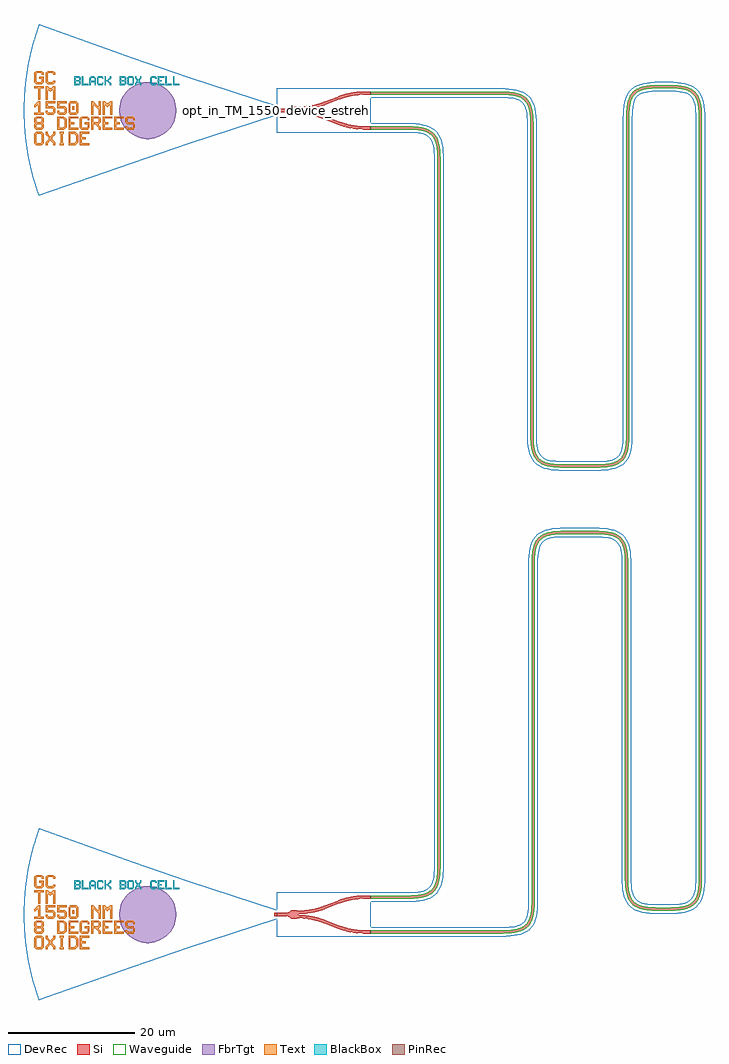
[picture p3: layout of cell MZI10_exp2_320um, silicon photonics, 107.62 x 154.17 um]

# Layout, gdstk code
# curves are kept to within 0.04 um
import gdstk
lib = gdstk.Library(unit=1e-6, precision=1e-09)
def R(c, l, rs):  # rectangles x0, y0, x1, y1
    for r in rs: c.add(gdstk.rectangle(r[:2], r[2:], *l))
def P(c, l, *ps):  # polygons
    for p in ps: c.add(gdstk.Polygon(p, *l))
Si = (1, 0)
PinRec = (1, 10)
Waveguide = (1, 99)
Text = (10, 0)
DevRec = (68, 0)
FbrTgt = (81, 0)
BlackBox = (998, 0)

text = lib.new_cell('TEXT')
P(text, BlackBox, [(13.2,0),(13.2,1.4),(14.2,1.4),(14.2,1.2),(13.4,1.2),(13.4,0.8),(13.8,0.8),(13.8,0.6),(13.4,0.6),(13.4,0.2),(14.2,0.2),(14.2,0)],
  [(9.6,0),(9.6,0.3),(9.9,0.6),(9.9,0.8),(9.6,1.1),(9.6,1.4),(9.8,1.4),(9.8,1.2),(10.1,0.9),(10.4,1.2),(10.4,1.4),(10.6,1.4),(10.6,1.1),(10.3,0.8),(10.3,0.6),(10.6,0.3),(10.6,0),(10.4,0),(10.4,0.2),(10.1,0.5),(9.8,0.2),(9.8,0)],
  [(8.6,0),(8.4,0.2),(8.4,1.2),(8.6,1.4),(9.2,1.4),(9.4,1.2),(9.4,0.7),(9.2,0.7),(9.2,1.1),(9.1,1.2),(8.7,1.2),(8.6,1.1),(8.6,0.3),(8.7,0.2),(9.1,0.2),(9.2,0.3),(9.2,0.7),(9.4,0.7),(9.4,0.2),(9.2,0)],
  [(4.8,0),(4.8,1.4),(5,1.4),(5,0.8),(5.2,0.8),(5.6,1.2),(5.6,1.4),(5.8,1.4),(5.8,1.1),(5.4,0.7),(5.8,0.3),(5.8,0),(5.6,0),(5.6,0.2),(5.2,0.6),(5,0.6),(5,0)],
  [(3.8,0),(3.6,0.2),(3.6,1.2),(3.8,1.4),(4.4,1.4),(4.6,1.2),(4.6,1),(4.4,1),(4.4,1.1),(4.3,1.2),(3.9,1.2),(3.8,1.1),(3.8,0.3),(3.9,0.2),(4.3,0.2),(4.4,0.3),(4.4,0.4),(4.6,0.4),(4.6,0.2),(4.4,0)],
  [(12.2,0),(12,0.2),(12,1.2),(12.2,1.4),(12.8,1.4),(13,1.2),(13,1),(12.8,1),(12.8,1.1),(12.7,1.2),(12.3,1.2),(12.2,1.1),(12.2,0.3),(12.3,0.2),(12.7,0.2),(12.8,0.3),(12.8,0.4),(13,0.4),(13,0.2),(12.8,0)],
  [(2.4,0),(2.4,1.1),(2.7,1.4),(3.1,1.4),(3.3,1.2),(2.8,1.2),(2.6,1),(2.6,0.7),(3.2,0.7),(3.2,1),(3,1.2),(3.3,1.2),(3.4,1.1),(3.4,0),(3.2,0),(3.2,0.5),(2.6,0.5),(2.6,0)],
  [(1.2,0),(1.2,1.4),(1.4,1.4),(1.4,0.2),(2.2,0.2),(2.2,0)],
  [(14.4,0),(14.4,1.4),(14.6,1.4),(14.6,0.2),(15.4,0.2),(15.4,0)],
  [(15.6,0),(15.6,1.4),(15.8,1.4),(15.8,0.2),(16.6,0.2),(16.6,0)],
  [(0,0),(0,1.4),(0.8,1.4),(1,1.2),(0.2,1.2),(0.2,0.8),(0.7,0.8),(0.8,0.9),(0.8,1.1),(0.7,1.2),(1,1.2),(1,0.8),(0.9,0.7),(1,0.6),(0.2,0.6),(0.2,0.2),(0.7,0.2),(0.8,0.3),(0.8,0.5),(0.7,0.6),(1,0.6),(1,0.2),(0.8,0)],
  [(7.2,0),(7.2,1.4),(8,1.4),(8.2,1.2),(7.4,1.2),(7.4,0.8),(7.9,0.8),(8,0.9),(8,1.1),(7.9,1.2),(8.2,1.2),(8.2,0.8),(8.1,0.7),(8.2,0.6),(7.4,0.6),(7.4,0.2),(7.9,0.2),(8,0.3),(8,0.5),(7.9,0.6),(8.2,0.6),(8.2,0.2),(8,0)])

gc_tm_1550_8degoxide_bb = lib.new_cell('GC_TM_1550_8degOxide_BB')
R(gc_tm_1550_8degoxide_bb, Si, [(-0.4,-0.25,0,0.25)])
R(gc_tm_1550_8degoxide_bb, Text, [(-32.313,0.092,-32.013,0.692)])
P(gc_tm_1550_8degoxide_bb, Text, [(-30.813,-3.058),(-31.113,-2.758),(-31.113,-1.258),(-30.813,-0.958),(-29.913,-0.958),(-29.613,-1.258),(-29.613,-1.558),(-29.913,-1.558),(-29.913,-1.408),(-30.063,-1.258),(-30.663,-1.258),(-30.813,-1.408),(-30.813,-2.608),(-30.663,-2.758),(-30.063,-2.758),(-29.913,-2.608),(-29.913,-2.158),(-30.363,-2.158),(-30.363,-1.858),(-29.613,-1.858),(-29.613,-2.758),(-29.913,-3.058)],
  [(-38.013,4.142),(-38.313,4.442),(-38.313,5.942),(-38.013,6.242),(-37.113,6.242),(-36.813,5.942),(-36.813,5.642),(-37.113,5.642),(-37.113,5.792),(-37.263,5.942),(-37.863,5.942),(-38.013,5.792),(-38.013,4.592),(-37.863,4.442),(-37.263,4.442),(-37.113,4.592),(-37.113,5.042),(-37.563,5.042),(-37.563,5.342),(-36.813,5.342),(-36.813,4.442),(-37.113,4.142)],
  [(-36.513,-5.458),(-36.513,-5.008),(-36.063,-4.558),(-36.063,-4.258),(-36.513,-3.808),(-36.513,-3.358),(-36.213,-3.358),(-36.213,-3.658),(-35.763,-4.108),(-35.313,-3.658),(-35.313,-3.358),(-35.013,-3.358),(-35.013,-3.808),(-35.463,-4.258),(-35.463,-4.558),(-35.013,-5.008),(-35.013,-5.458),(-35.313,-5.458),(-35.313,-5.158),(-35.763,-4.708),(-36.213,-5.158),(-36.213,-5.458)],
  [(-37.713,1.742),(-37.713,3.542),(-38.313,3.542),(-38.313,3.842),(-36.813,3.842),(-36.813,3.542),(-37.413,3.542),(-37.413,1.742)],
  [(-38.013,-5.458),(-38.313,-5.158),(-38.313,-3.658),(-38.013,-3.358),(-37.113,-3.358),(-36.813,-3.658),(-36.813,-4.408),(-37.113,-4.408),(-37.113,-3.808),(-37.263,-3.658),(-37.863,-3.658),(-38.013,-3.808),(-38.013,-5.008),(-37.863,-5.158),(-37.263,-5.158),(-37.113,-5.008),(-37.113,-4.408),(-36.813,-4.408),(-36.813,-5.158),(-37.113,-5.458)],
  [(-31.113,-5.458),(-31.113,-3.358),(-29.613,-3.358),(-29.613,-3.658),(-30.813,-3.658),(-30.813,-4.258),(-30.213,-4.258),(-30.213,-4.558),(-30.813,-4.558),(-30.813,-5.158),(-29.613,-5.158),(-29.613,-5.458)],
  [(-32.913,-3.058),(-32.913,-0.958),(-31.413,-0.958),(-31.413,-1.258),(-32.613,-1.258),(-32.613,-1.858),(-32.013,-1.858),(-32.013,-2.158),(-32.613,-2.158),(-32.613,-2.758),(-31.413,-2.758),(-31.413,-3.058)],
  [(-27.513,-3.058),(-27.513,-0.958),(-26.013,-0.958),(-26.013,-1.258),(-27.213,-1.258),(-27.213,-1.858),(-26.613,-1.858),(-26.613,-2.158),(-27.213,-2.158),(-27.213,-2.758),(-26.013,-2.758),(-26.013,-3.058)],
  [(-25.713,-3.058),(-25.713,-0.958),(-24.213,-0.958),(-24.213,-1.258),(-25.413,-1.258),(-25.413,-1.858),(-24.813,-1.858),(-24.813,-2.158),(-25.413,-2.158),(-25.413,-2.758),(-24.213,-2.758),(-24.213,-3.058)],
  [(-29.313,-0.658),(-29.313,1.442),(-29.013,1.442),(-28.263,0.692),(-28.113,0.692),(-28.113,1.442),(-27.813,1.442),(-27.813,-0.658),(-28.113,-0.658),(-28.113,0.092),(-28.863,0.842),(-29.013,0.842),(-29.013,-0.658)],
  [(-34.263,-5.458),(-34.263,-5.158),(-34.113,-5.158),(-34.113,-3.658),(-34.263,-3.658),(-34.263,-3.358),(-33.663,-3.358),(-33.663,-3.658),(-33.813,-3.658),(-33.813,-5.158),(-33.663,-5.158),(-33.663,-5.458)],
  [(-36.213,4.142),(-36.513,4.442),(-36.513,5.942),(-36.213,6.242),(-35.313,6.242),(-35.013,5.942),(-35.013,5.642),(-35.313,5.642),(-35.313,5.792),(-35.463,5.942),(-36.063,5.942),(-36.213,5.792),(-36.213,4.592),(-36.063,4.442),(-35.463,4.442),(-35.313,4.592),(-35.313,4.742),(-35.013,4.742),(-35.013,4.442),(-35.313,4.142)],
  [(-27.513,-0.658),(-27.513,1.442),(-27.213,1.442),(-26.913,1.142),(-26.613,1.142),(-26.313,1.442),(-26.013,1.442),(-26.013,-0.658),(-26.313,-0.658),(-26.313,0.842),(-26.463,0.842),(-26.763,0.542),(-27.063,0.842),(-27.213,0.842),(-27.213,-0.658)],
  [(-36.513,1.742),(-36.513,3.842),(-36.213,3.842),(-35.913,3.542),(-35.613,3.542),(-35.313,3.842),(-35.013,3.842),(-35.013,1.742),(-35.313,1.742),(-35.313,3.242),(-35.463,3.242),(-35.763,2.942),(-36.063,3.242),(-36.213,3.242),(-36.213,1.742)],
  [(-29.313,-3.058),(-29.313,-0.958),(-28.113,-0.958),(-27.813,-1.258),(-29.013,-1.258),(-29.013,-1.858),(-28.263,-1.858),(-28.113,-1.708),(-28.113,-1.408),(-28.263,-1.258),(-27.813,-1.258),(-27.813,-1.858),(-28.113,-2.158),(-28.113,-2.308),(-27.813,-2.608),(-27.813,-3.058),(-28.113,-3.058),(-28.113,-2.758),(-28.713,-2.158),(-29.013,-2.158),(-29.013,-3.058)],
  [(-32.613,-0.658),(-32.913,-0.358),(-32.913,1.142),(-32.613,1.442),(-31.713,1.442),(-31.413,1.142),(-32.463,1.142),(-32.613,0.992),(-32.613,-0.208),(-32.463,-0.358),(-31.863,-0.358),(-31.713,-0.208),(-31.713,0.992),(-31.863,1.142),(-31.413,1.142),(-31.413,-0.358),(-31.713,-0.658)],
  [(-38.013,-3.058),(-38.313,-2.758),(-38.313,-2.158),(-38.163,-2.008),(-38.313,-1.858),(-38.313,-1.258),(-38.013,-0.958),(-37.113,-0.958),(-36.813,-1.258),(-37.863,-1.258),(-38.013,-1.408),(-38.013,-1.708),(-37.863,-1.858),(-37.263,-1.858),(-37.113,-1.708),(-37.113,-1.408),(-37.263,-1.258),(-36.813,-1.258),(-36.813,-1.858),(-36.963,-2.008),(-36.813,-2.158),(-37.863,-2.158),(-38.013,-2.308),(-38.013,-2.608),(-37.863,-2.758),(-37.263,-2.758),(-37.113,-2.608),(-37.113,-2.308),(-37.263,-2.158),(-36.813,-2.158),(-36.813,-2.758),(-37.113,-3.058)],
  [(-32.913,-5.458),(-32.913,-3.358),(-31.863,-3.358),(-31.563,-3.658),(-32.613,-3.658),(-32.613,-5.158),(-32.013,-5.158),(-31.713,-4.858),(-31.713,-3.958),(-32.013,-3.658),(-31.563,-3.658),(-31.413,-3.808),(-31.413,-5.008),(-31.863,-5.458)],
  [(-34.713,-3.058),(-34.713,-0.958),(-33.663,-0.958),(-33.363,-1.258),(-34.413,-1.258),(-34.413,-2.758),(-33.813,-2.758),(-33.513,-2.458),(-33.513,-1.558),(-33.813,-1.258),(-33.363,-1.258),(-33.213,-1.408),(-33.213,-2.608),(-33.663,-3.058)],
  [(-36.213,-0.658),(-36.513,-0.358),(-36.513,-0.058),(-36.213,-0.058),(-36.213,-0.208),(-36.063,-0.358),(-35.463,-0.358),(-35.313,-0.208),(-35.313,0.242),(-35.463,0.392),(-36.513,0.392),(-36.513,1.442),(-35.013,1.442),(-35.013,1.142),(-36.213,1.142),(-36.213,0.692),(-35.313,0.692),(-35.013,0.392),(-35.013,-0.358),(-35.313,-0.658)],
  [(-34.413,-0.658),(-34.713,-0.358),(-34.713,-0.058),(-34.413,-0.058),(-34.413,-0.208),(-34.263,-0.358),(-33.663,-0.358),(-33.513,-0.208),(-33.513,0.242),(-33.663,0.392),(-34.713,0.392),(-34.713,1.442),(-33.213,1.442),(-33.213,1.142),(-34.413,1.142),(-34.413,0.692),(-33.513,0.692),(-33.213,0.392),(-33.213,-0.358),(-33.513,-0.658)],
  [(-23.613,-3.058),(-23.913,-2.758),(-23.913,-2.458),(-23.613,-2.458),(-23.613,-2.608),(-23.463,-2.758),(-22.863,-2.758),(-22.713,-2.608),(-22.713,-2.308),(-22.863,-2.158),(-23.613,-2.158),(-23.913,-1.858),(-23.913,-1.258),(-23.613,-0.958),(-22.713,-0.958),(-22.413,-1.258),(-22.413,-1.558),(-22.713,-1.558),(-22.713,-1.408),(-22.863,-1.258),(-23.463,-1.258),(-23.613,-1.408),(-23.613,-1.708),(-23.463,-1.858),(-22.713,-1.858),(-22.413,-2.158),(-22.413,-2.758),(-22.713,-3.058)],
  [(-38.313,-0.658),(-38.313,-0.358),(-37.713,-0.358),(-37.713,0.842),(-37.863,0.842),(-38.163,0.542),(-38.313,0.542),(-38.313,0.842),(-37.713,1.442),(-37.413,1.442),(-37.413,-0.358),(-36.813,-0.358),(-36.813,-0.658)])
P(gc_tm_1550_8degoxide_bb, DevRec, [(-37.607,-13.5),(-38.627,-10.245),(-39.378,-6.832),(-39.647,-5.058),(-39.835,-3.274),(-39.969,0.224),(-39.812,3.541),(-39.331,7.097),(-38.557,10.505),(-37.546,13.669),(-22.8,8.353),(-14.109,5.36),(0,0.75),(0,-0.75),(-14.109,-5.36)])
P(gc_tm_1550_8degoxide_bb, FbrTgt, [(-20.621,-4.5),(-21.495,-4.37),(-22.326,-4.073),(-23.084,-3.619),(-23.738,-3.026),(-24.264,-2.316),(-24.642,-1.518),(-24.857,-0.661),(-24.9,0.221),(-24.77,1.095),(-24.473,1.926),(-24.019,2.684),(-23.426,3.338),(-22.716,3.864),(-21.918,4.242),(-21.061,4.457),(-20.179,4.5),(-19.305,4.37),(-18.474,4.073),(-17.716,3.619),(-17.062,3.026),(-16.536,2.316),(-16.158,1.518),(-15.943,0.661),(-15.9,-0.221),(-16.03,-1.095),(-16.327,-1.926),(-16.781,-2.684),(-17.374,-3.338),(-18.084,-3.864),(-18.882,-4.242),(-19.739,-4.457)])
gc_tm_1550_8degoxide_bb.add(gdstk.FlexPath([(-0.01,0),(0.01,0)], 0.5, ends="flush", simple_path=True, layer=1, datatype=10))  # PinRec
gc_tm_1550_8degoxide_bb.add(gdstk.Reference(text, (-32,4)))
gc_tm_1550_8degoxide_bb.add(gdstk.Label('opt1', (0,0), layer=1, texttype=10))
gc_tm_1550_8degoxide_bb.add(gdstk.Label('Component=GC_TM_1550_8degOxide_BB', (-28,-5), layer=68, texttype=0))
gc_tm_1550_8degoxide_bb.add(gdstk.Label('Lumerical_INTERCONNECT_library=Design kits/ebeam', (-29,-7), layer=68, texttype=0))

ebeam_y_1550 = lib.new_cell('ebeam_y_1550')
R(ebeam_y_1550, Si, [(6.5,-3,7.4,-2.5), (-7.4,-0.25,-6,0.25), (6.5,2.5,7.4,3)])
P(ebeam_y_1550, Si, [(6.458,-3),(6.237,-2.997),(6.237,-2.497),(6.5,-2.5),(6.5,-3)],
  [(2.265,-2.21),(0.055,-1.356),(0.235,-0.89),(2.445,-1.744)],
  [(5.033,-2.908),(3.59,-2.634),(2.265,-2.21),(2.445,-1.744),(3.731,-2.154),(5.033,-2.404)],
  [(-0.762,0.555),(-0.762,1.076),(0.055,1.356),(0.235,0.89)],
  [(-5.122,-0.662),(-5.442,-0.374),(-5.808,-0.255),(-6,-0.25),(-6,0.25),(-5.817,0.253),(-5.442,0.374),(-5.122,0.662)],
  [(-4.957,-0.703),(-5.122,-0.662),(-5.122,0.662),(-4.538,0.703),(-4,0.6),(-4,-0.6),(-4.509,-0.701)],
  [(0.055,-1.356),(-0.762,-1.076),(-0.762,-0.555),(0.235,-0.89)],
  [(6.237,2.497),(6.237,2.997),(6.5,3),(6.5,2.5)],
  [(-0.762,-1.076),(-2.334,-0.724),(-4,-0.6),(-4,-0.1),(-2.381,-0.212),(-0.762,-0.555)],
  [(5.033,2.404),(5.033,2.908),(6.237,2.997),(6.237,2.497)],
  [(6.233,-2.997),(5.033,-2.908),(5.033,-2.404),(6.237,-2.497)],
  [(0.235,0.89),(0.055,1.356),(2.265,2.21),(2.445,1.744)],
  [(2.445,1.744),(2.267,2.211),(3.59,2.634),(5.033,2.908),(5.033,2.404),(3.731,2.154)],
  [(-4,0.1),(-4,0.6),(-2.334,0.724),(-0.762,1.076),(-0.762,0.555),(-2.381,0.212)])
R(ebeam_y_1550, DevRec, [(-7.4,-3.5,7.4,3.5)])
ebeam_y_1550.add(gdstk.FlexPath([(7.35,-2.75),(7.45,-2.75)], 0.5, ends="flush", simple_path=True, layer=1, datatype=10))  # PinRec
ebeam_y_1550.add(gdstk.FlexPath([(7.35,2.75),(7.45,2.75)], 0.5, ends="flush", simple_path=True, layer=1, datatype=10))  # PinRec
ebeam_y_1550.add(gdstk.FlexPath([(-7.35,0),(-7.45,0)], 0.5, ends="flush", simple_path=True, layer=1, datatype=10))  # PinRec
ebeam_y_1550.add(gdstk.Label('opt1', (-7.4,0), layer=1, texttype=10))
ebeam_y_1550.add(gdstk.Label('opt3', (7.4,-2.75), layer=1, texttype=10))
ebeam_y_1550.add(gdstk.Label('opt2', (7.4,2.75), layer=1, texttype=10))
ebeam_y_1550.add(gdstk.Label('Lumerical_INTERCONNECT_library=Design kits/ebeam', (-6.86,-2.19), layer=68, texttype=0))
ebeam_y_1550.add(gdstk.Label('Component=ebeam_y_1550', (-6,1.5), layer=68, texttype=0))
ebeam_y_1550.add(gdstk.Label('Ref: Y Zhang, Opt. Express, 21/1, 2013', (-7.5,-1), layer=10, texttype=0))

waveguide_3 = lib.new_cell('Waveguide$3')
P(waveguide_3, Si, [(14.8,2.5),(14.8,3),(21.431,3.017),(22.646,3.137),(23.583,3.389),(24.269,3.784),(24.567,4.082),(24.811,4.446),(25.156,5.408),(25.324,6.728),(25.352,119.25),(25.299,120.635),(25.088,121.862),(24.696,122.743),(24.425,123.073),(24.096,123.343),(23.344,123.696),(22.492,123.887),(21.234,123.99),(14.8,124),(14.8,124.5),(21.652,124.472),(22.733,124.354),(23.635,124.125),(24.374,123.759),(24.869,123.332),(25.25,122.793),(25.568,122),(25.758,121.04),(25.843,119.897),(25.824,6.7),(25.644,5.3),(25.477,4.717),(25.249,4.206),(24.684,3.483),(24.262,3.169),(23.769,2.925),(22.732,2.645),(21.453,2.517)])
P(waveguide_3, Waveguide, [(14.8,2.5),(14.8,3),(21.431,3.017),(22.646,3.137),(23.583,3.389),(24.269,3.784),(24.567,4.082),(24.811,4.446),(25.156,5.408),(25.324,6.728),(25.352,119.25),(25.299,120.635),(25.088,121.862),(24.696,122.743),(24.425,123.073),(24.096,123.343),(23.344,123.696),(22.492,123.887),(21.234,123.99),(14.8,124),(14.8,124.5),(21.652,124.472),(22.733,124.354),(23.635,124.125),(24.374,123.759),(24.869,123.332),(25.25,122.793),(25.568,122),(25.758,121.04),(25.843,119.897),(25.824,6.7),(25.644,5.3),(25.477,4.717),(25.249,4.206),(24.684,3.483),(24.262,3.169),(23.769,2.925),(22.732,2.645),(21.453,2.517)])
P(waveguide_3, DevRec, [(14.8,2),(14.8,3.5),(21.251,3.51),(22.346,3.597),(23.497,3.895),(23.977,4.192),(24.159,4.374),(24.456,4.854),(24.676,5.556),(24.809,6.519),(24.852,7.75),(24.852,119.25),(24.81,120.48),(24.677,121.443),(24.317,122.408),(24.16,122.625),(23.761,122.964),(23.178,123.224),(22.347,123.402),(21.252,123.489),(14.8,123.5),(14.8,125),(21.953,124.953),(23.112,124.79),(24.112,124.472),(24.952,123.947),(25.3,123.599),(25.591,123.2),(26.007,122.277),(26.241,121.202),(26.342,119.951),(26.352,7.75),(26.305,6.399),(26.142,5.24),(26.006,4.722),(25.59,3.799),(24.951,3.052),(24.111,2.527),(23.111,2.209),(21.952,2.046)])
waveguide_3.add(gdstk.FlexPath([(14.81,2.75),(14.79,2.75)], 0.5, ends="flush", simple_path=True, layer=1, datatype=10))  # PinRec
waveguide_3.add(gdstk.FlexPath([(14.81,124.25),(14.79,124.25)], 0.5, ends="flush", simple_path=True, layer=1, datatype=10))  # PinRec
waveguide_3.add(gdstk.Label('opt2', (14.8,124.25), layer=1, texttype=10))
waveguide_3.add(gdstk.Label('opt1', (14.8,2.75), layer=1, texttype=10))
waveguide_3.add(gdstk.Label('Length=140.001 (microns)', (14.8,2.15), layer=68, texttype=0))
waveguide_3.add(gdstk.Label('Spice_param:wg_length=0.000140001 wg_width=5e-07 points="[[14.8,2.75],[25.602,2.75],[25.602,124.25],[14.8,124.25]]" radius=5e-06', (14.8,2.75), layer=68, texttype=0))
waveguide_3.add(gdstk.Label('waveguide_type=Strip TE 1550 nm, w=500 nm', (14.8,2.55), layer=68, texttype=0))
waveguide_3.add(gdstk.Label('cellName=Waveguide', (14.8,2.95), layer=68, texttype=0))
waveguide_3.add(gdstk.Label('Component=ebeam_wg_integral_1550', (14.8,2.85), layer=68, texttype=0))
waveguide_3.add(gdstk.Label('Lumerical_INTERCONNECT_library=Design kits/EBeam', (14.8,2.65), layer=68, texttype=0))

waveguide_12 = lib.new_cell('Waveguide$12')
P(waveguide_12, Si, [(54.769,-143.669),(54.769,-143.169),(75.45,-143.169),(76.836,-143.115),(77.93,-142.94),(78.754,-142.628),(79.347,-142.165),(79.764,-141.512),(79.972,-140.898),(80.088,-140.308),(80.199,-138.636),(80.228,-84.27),(80.319,-83.356),(80.485,-82.569),(80.681,-82.022),(81.018,-81.439),(81.368,-81.053),(81.907,-80.672),(82.557,-80.397),(83.32,-80.215),(85.013,-80.074),(90.2,-80.07),(91.632,-80.126),(92.65,-80.278),(93.623,-80.61),(94.377,-81.143),(94.911,-81.898),(95.243,-82.871),(95.395,-83.889),(95.45,-85.32),(95.452,-135.028),(95.563,-136.701),(95.679,-137.291),(95.887,-137.905),(96.235,-138.479),(96.707,-138.905),(97.336,-139.217),(98.156,-139.424),(99.569,-139.552),(102.296,-139.556),(103.597,-139.47),(104.481,-139.296),(105.069,-139.073),(105.536,-138.776),(105.899,-138.393),(106.182,-137.904),(106.39,-137.29),(106.506,-136.7),(106.618,-134.811),(106.618,-14.9),(106.527,-13.171),(106.422,-12.558),(106.228,-11.918),(105.961,-11.406),(105.535,-10.934),(105.068,-10.637),(104.48,-10.414),(103.074,-10.188),(100.173,-10.152),(98.5,-10.263),(97.91,-10.379),(97.296,-10.587),(96.896,-10.807),(96.493,-11.154),(96.18,-11.597),(95.984,-12.036),(95.73,-13.172),(95.641,-14.683),(95.64,-64.821),(95.599,-66.064),(95.464,-67.114),(95.159,-68.119),(94.656,-68.904),(93.933,-69.469),(92.993,-69.827),(92.18,-69.977),(91.037,-70.062),(84.612,-70.061),(83.469,-69.976),(82.656,-69.826),(81.837,-69.531),(81.276,-69.172),(80.827,-68.701),(80.435,-67.988),(80.217,-67.27),(80.065,-66.252),(80.01,-64.821),(80.008,-15.702),(79.872,-13.874),(79.706,-13.177),(79.522,-12.718),(79.083,-12.096),(78.46,-11.656),(77.601,-11.364),(76.466,-11.207),(54.769,-11.169),(54.769,-10.669),(76.309,-10.696),(77.552,-10.844),(78.557,-11.149),(79.342,-11.652),(79.84,-12.258),(80.084,-12.751),(80.302,-13.469),(80.436,-14.305),(80.505,-15.481),(80.51,-64.821),(80.548,-66.027),(80.675,-67.017),(80.946,-67.914),(81.363,-68.567),(81.956,-69.03),(82.78,-69.342),(83.531,-69.48),(84.628,-69.561),(90.607,-69.57),(91.775,-69.518),(92.731,-69.376),(93.483,-69.135),(94.057,-68.787),(94.483,-68.315),(94.795,-67.686),(94.974,-67.018),(95.101,-66.028),(95.141,-14.679),(95.195,-13.469),(95.347,-12.451),(95.679,-11.478),(96.213,-10.723),(96.846,-10.253),(97.786,-9.895),(99.34,-9.678),(102.305,-9.654),(103.831,-9.768),(104.9,-10.024),(105.528,-10.319),(105.95,-10.633),(106.3,-11.019),(106.578,-11.477),(106.79,-12.006),(106.972,-12.769),(107.113,-14.462),(107.118,-134.811),(107.024,-136.601),(106.744,-137.843),(106.449,-138.471),(106.135,-138.893),(105.749,-139.243),(105.291,-139.521),(104.762,-139.733),(103.999,-139.915),(102.091,-140.059),(98.958,-140.021),(98.07,-139.916),(97.307,-139.734),(96.657,-139.459),(96.118,-139.078),(95.691,-138.583),(95.376,-137.979),(95.069,-136.775),(94.952,-135.034),(94.95,-85.32),(94.912,-84.114),(94.785,-83.124),(94.514,-82.227),(94.097,-81.574),(93.504,-81.111),(92.542,-80.766),(91.586,-80.624),(90.628,-80.575),(85.233,-80.571),(83.891,-80.641),(83.109,-80.765),(82.469,-80.959),(81.957,-81.226),(81.554,-81.573),(81.241,-82.016),(81.004,-82.578),(80.838,-83.275),(80.739,-84.113),(80.699,-138.64),(80.582,-140.382),(80.456,-141.022),(80.22,-141.716),(79.717,-142.501),(78.994,-143.066),(78.054,-143.424),(76.693,-143.628)])
P(waveguide_12, Waveguide, [(54.769,-143.669),(54.769,-143.169),(75.45,-143.169),(76.836,-143.115),(77.93,-142.94),(78.754,-142.628),(79.347,-142.165),(79.764,-141.512),(79.972,-140.898),(80.088,-140.308),(80.199,-138.636),(80.228,-84.27),(80.319,-83.356),(80.485,-82.569),(80.681,-82.022),(81.018,-81.439),(81.368,-81.053),(81.907,-80.672),(82.557,-80.397),(83.32,-80.215),(85.013,-80.074),(90.2,-80.07),(91.632,-80.126),(92.65,-80.278),(93.623,-80.61),(94.377,-81.143),(94.911,-81.898),(95.243,-82.871),(95.395,-83.889),(95.45,-85.32),(95.452,-135.028),(95.563,-136.701),(95.679,-137.291),(95.887,-137.905),(96.235,-138.479),(96.707,-138.905),(97.336,-139.217),(98.156,-139.424),(99.569,-139.552),(102.296,-139.556),(103.597,-139.47),(104.481,-139.296),(105.069,-139.073),(105.536,-138.776),(105.899,-138.393),(106.182,-137.904),(106.39,-137.29),(106.506,-136.7),(106.618,-134.811),(106.618,-14.9),(106.527,-13.171),(106.422,-12.558),(106.228,-11.918),(105.961,-11.406),(105.535,-10.934),(105.068,-10.637),(104.48,-10.414),(103.074,-10.188),(100.173,-10.152),(98.5,-10.263),(97.91,-10.379),(97.296,-10.587),(96.896,-10.807),(96.493,-11.154),(96.18,-11.597),(95.984,-12.036),(95.73,-13.172),(95.641,-14.683),(95.64,-64.821),(95.599,-66.064),(95.464,-67.114),(95.159,-68.119),(94.656,-68.904),(93.933,-69.469),(92.993,-69.827),(92.18,-69.977),(91.037,-70.062),(84.612,-70.061),(83.469,-69.976),(82.656,-69.826),(81.837,-69.531),(81.276,-69.172),(80.827,-68.701),(80.435,-67.988),(80.217,-67.27),(80.065,-66.252),(80.01,-64.821),(80.008,-15.702),(79.872,-13.874),(79.706,-13.177),(79.522,-12.718),(79.083,-12.096),(78.46,-11.656),(77.601,-11.364),(76.466,-11.207),(54.769,-11.169),(54.769,-10.669),(76.309,-10.696),(77.552,-10.844),(78.557,-11.149),(79.342,-11.652),(79.84,-12.258),(80.084,-12.751),(80.302,-13.469),(80.436,-14.305),(80.505,-15.481),(80.51,-64.821),(80.548,-66.027),(80.675,-67.017),(80.946,-67.914),(81.363,-68.567),(81.956,-69.03),(82.78,-69.342),(83.531,-69.48),(84.628,-69.561),(90.607,-69.57),(91.775,-69.518),(92.731,-69.376),(93.483,-69.135),(94.057,-68.787),(94.483,-68.315),(94.795,-67.686),(94.974,-67.018),(95.101,-66.028),(95.141,-14.679),(95.195,-13.469),(95.347,-12.451),(95.679,-11.478),(96.213,-10.723),(96.846,-10.253),(97.786,-9.895),(99.34,-9.678),(102.305,-9.654),(103.831,-9.768),(104.9,-10.024),(105.528,-10.319),(105.95,-10.633),(106.3,-11.019),(106.578,-11.477),(106.79,-12.006),(106.972,-12.769),(107.113,-14.462),(107.118,-134.811),(107.024,-136.601),(106.744,-137.843),(106.449,-138.471),(106.135,-138.893),(105.749,-139.243),(105.291,-139.521),(104.762,-139.733),(103.999,-139.915),(102.091,-140.059),(98.958,-140.021),(98.07,-139.916),(97.307,-139.734),(96.657,-139.459),(96.118,-139.078),(95.691,-138.583),(95.376,-137.979),(95.069,-136.775),(94.952,-135.034),(94.95,-85.32),(94.912,-84.114),(94.785,-83.124),(94.514,-82.227),(94.097,-81.574),(93.504,-81.111),(92.542,-80.766),(91.586,-80.624),(90.628,-80.575),(85.233,-80.571),(83.891,-80.641),(83.109,-80.765),(82.469,-80.959),(81.957,-81.226),(81.554,-81.573),(81.241,-82.016),(81.004,-82.578),(80.838,-83.275),(80.739,-84.113),(80.699,-138.64),(80.582,-140.382),(80.456,-141.022),(80.22,-141.716),(79.717,-142.501),(78.994,-143.066),(78.054,-143.424),(76.693,-143.628)])
P(waveguide_12, DevRec, [(54.769,-144.169),(54.769,-142.669),(75.45,-142.669),(76.681,-142.626),(77.644,-142.493),(78.346,-142.273),(78.826,-141.976),(79.008,-141.794),(79.305,-141.314),(79.603,-140.163),(79.7,-138.419),(79.7,-85.32),(79.747,-83.969),(79.91,-82.81),(80.046,-82.292),(80.462,-81.369),(80.753,-80.97),(81.5,-80.331),(81.941,-80.097),(82.941,-79.779),(84.1,-79.616),(85.449,-79.57),(90.902,-79.581),(92.153,-79.682),(93.228,-79.916),(94.151,-80.332),(94.898,-80.971),(95.423,-81.811),(95.605,-82.293),(95.839,-83.368),(95.95,-85.32),(95.95,-134.811),(95.993,-136.042),(96.126,-137.005),(96.346,-137.707),(96.643,-138.187),(96.825,-138.369),(97.305,-138.666),(98.007,-138.886),(99.551,-139.051),(101.864,-139.061),(103.099,-139.018),(104.062,-138.885),(105.027,-138.525),(105.426,-138.186),(105.723,-137.706),(106.021,-136.555),(106.118,-134.811),(106.118,-14.9),(106.02,-13.155),(105.722,-12.004),(105.425,-11.524),(105.026,-11.185),(104.061,-10.825),(102.517,-10.66),(99.159,-10.693),(98.196,-10.826),(97.231,-11.186),(97.014,-11.343),(96.675,-11.742),(96.315,-12.707),(96.182,-13.67),(96.14,-14.9),(96.14,-64.821),(96.028,-66.774),(95.794,-67.849),(95.378,-68.772),(94.739,-69.519),(93.899,-70.044),(92.899,-70.362),(91.091,-70.561),(84.558,-70.56),(83.307,-70.459),(82.232,-70.225),(81.309,-69.809),(80.91,-69.518),(80.562,-69.17),(80.037,-68.33),(79.719,-67.33),(79.556,-66.171),(79.51,-64.821),(79.51,-15.919),(79.412,-14.174),(79.114,-13.023),(78.817,-12.543),(78.635,-12.361),(78.155,-12.064),(77.453,-11.844),(76.49,-11.711),(54.769,-11.669),(54.769,-10.169),(75.26,-10.169),(76.61,-10.215),(77.769,-10.378),(78.769,-10.696),(79.609,-11.221),(80.248,-11.968),(80.482,-12.409),(80.8,-13.409),(80.999,-15.217),(81.01,-64.821),(81.052,-66.051),(81.185,-67.014),(81.405,-67.716),(81.702,-68.196),(81.884,-68.378),(82.364,-68.675),(83.066,-68.895),(84.61,-69.06),(90.389,-69.071),(92.134,-68.974),(92.965,-68.796),(93.548,-68.536),(93.947,-68.197),(94.244,-67.717),(94.464,-67.015),(94.597,-66.052),(94.64,-64.821),(94.64,-14.9),(94.686,-13.55),(94.849,-12.391),(95.167,-11.391),(95.692,-10.551),(96.439,-9.912),(97.362,-9.496),(98.437,-9.262),(100.386,-9.15),(103.218,-9.196),(104.377,-9.359),(104.895,-9.495),(105.818,-9.911),(106.217,-10.202),(106.856,-10.949),(107.09,-11.39),(107.408,-12.39),(107.607,-14.198),(107.618,-134.811),(107.507,-136.763),(107.273,-137.838),(106.857,-138.761),(106.566,-139.16),(105.819,-139.799),(105.378,-140.033),(104.378,-140.351),(102.57,-140.55),(98.85,-140.515),(97.691,-140.352),(97.173,-140.216),(96.25,-139.8),(95.851,-139.509),(95.503,-139.161),(94.978,-138.321),(94.796,-137.839),(94.562,-136.764),(94.45,-134.811),(94.45,-85.32),(94.408,-84.09),(94.275,-83.127),(94.055,-82.425),(93.758,-81.945),(93.576,-81.763),(93.096,-81.466),(92.394,-81.246),(91.431,-81.113),(90.198,-81.07),(85.451,-81.07),(83.706,-81.167),(82.555,-81.465),(82.075,-81.762),(81.736,-82.161),(81.376,-83.126),(81.211,-84.67),(81.2,-138.419),(81.089,-140.371),(80.855,-141.446),(80.673,-141.928),(80.148,-142.768),(79.401,-143.407),(78.478,-143.823),(77.96,-143.959),(76.801,-144.122),(75.45,-144.169)])
waveguide_12.add(gdstk.FlexPath([(54.779,-143.419),(54.759,-143.419)], 0.5, ends="flush", simple_path=True, layer=1, datatype=10))  # PinRec
waveguide_12.add(gdstk.FlexPath([(54.779,-10.919),(54.759,-10.919)], 0.5, ends="flush", simple_path=True, layer=1, datatype=10))  # PinRec
waveguide_12.add(gdstk.Label('opt2', (54.769,-143.419), layer=1, texttype=10))
waveguide_12.add(gdstk.Label('opt1', (54.769,-10.919), layer=1, texttype=10))
waveguide_12.add(gdstk.Label('Length=460.005 (microns)', (54.769,-11.519), layer=68, texttype=0))
waveguide_12.add(gdstk.Label('waveguide_type=Strip TE 1550 nm, w=500 nm', (54.769,-11.119), layer=68, texttype=0))
waveguide_12.add(gdstk.Label('cellName=Waveguide', (54.769,-10.719), layer=68, texttype=0))
waveguide_12.add(gdstk.Label('Component=ebeam_wg_integral_1550', (54.769,-10.819), layer=68, texttype=0))
waveguide_12.add(gdstk.Label('Lumerical_INTERCONNECT_library=Design kits/EBeam', (54.769,-11.019), layer=68, texttype=0))

mzi10_exp2_320um = lib.new_cell('MZI10_exp2_320um')
mzi10_exp2_320um.add(gdstk.Reference(gc_tm_1550_8degoxide_bb, (39.98,-140.67)))
mzi10_exp2_320um.add(gdstk.Reference(gc_tm_1550_8degoxide_bb, (39.98,-13.67)))
mzi10_exp2_320um.add(gdstk.Reference(ebeam_y_1550, (47.38,-140.67)))
mzi10_exp2_320um.add(gdstk.Reference(ebeam_y_1550, (47.38,-13.67)))
mzi10_exp2_320um.add(gdstk.Reference(waveguide_3, (39.98,-140.67)))
mzi10_exp2_320um.add(gdstk.Reference(waveguide_12, (0.011,-0.001)))
mzi10_exp2_320um.add(gdstk.Label('opt_in_TM_1550_device_estrehlo_MZI10', (39.969,-13.669), layer=10, texttype=0))

lib.write_gds('MZI10_exp2_320um.gds')
